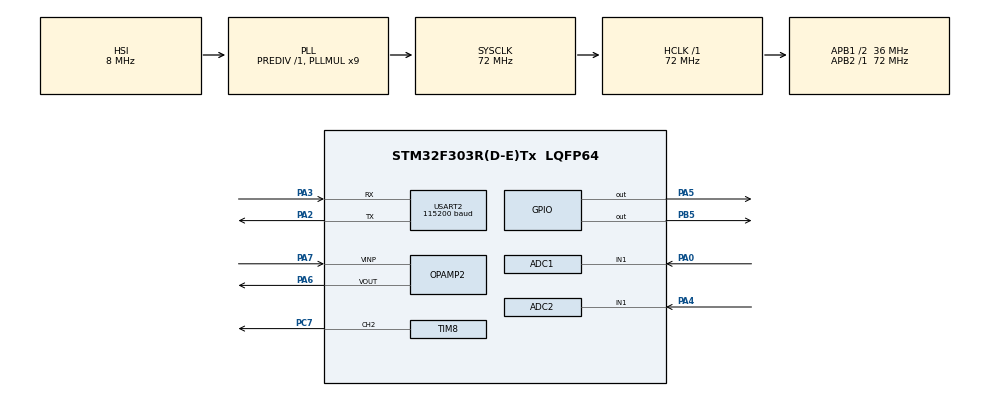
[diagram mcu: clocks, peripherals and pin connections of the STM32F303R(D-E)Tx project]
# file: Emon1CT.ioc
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ADC1.Channel-8\#ChannelRegularConversion=ADC_CHANNEL_1
ADC1.ClockPrescaler=ADC_CLOCK_SYNC_PCLK_DIV4
ADC1.ContinuousConvMode=ENABLE
ADC1.DMAContinuousRequests=ENABLE
ADC1.DataAlign=ADC_DATAALIGN_RIGHT
ADC1.DiscontinuousConvMode=DISABLE
ADC1.EOCSelection=ADC_EOC_SEQ_CONV
ADC1.EnableAnalogWatchDog1=false
ADC1.EnableAnalogWatchDog2=false
ADC1.EnableAnalogWatchDog3=false
ADC1.EnableInjectedConversion=ENABLE
ADC1.EnableRegularConversion=ENABLE
ADC1.ExternalTrigConv=ADC_EXTERNALTRIGCONV_T8_TRGO2
ADC1.ExternalTrigConvEdge=ADC_EXTERNALTRIGCONVEDGE_RISING
ADC1.InjNumberOfConversion=0
ADC1.LowPowerAutoWait=DISABLE
ADC1.NbrOfConversion=1
ADC1.NbrOfConversionFlag=1
ADC1.Offset-8\#ChannelRegularConversion=0
ADC1.OffsetNumber-8\#ChannelRegularConversion=ADC_OFFSET_NONE
ADC1.Overrun=ADC_OVR_DATA_OVERWRITTEN
ADC1.Rank-8\#ChannelRegularConversion=1
ADC1.Resolution=ADC_RESOLUTION_12B
ADC1.SamplingTime-8\#ChannelRegularConversion=ADC_SAMPLETIME_601CYCLES_5
ADC1.ScanConvMode=ADC_SCAN_DISABLE
ADC1.master=1
ADC2.Channel-0\#ChannelRegularConversion=ADC_CHANNEL_1
ADC2.ClockPrescaler=ADC_CLOCK_SYNC_PCLK_DIV4
ADC2.ContinuousConvMode=ENABLE
ADC2.DMAContinuousRequests=ENABLE
ADC2.EOCSelection=ADC_EOC_SEQ_CONV
ADC2.ExternalTrigConv=ADC_EXTERNALTRIGCONV_T8_TRGO2
ADC2.NbrOfConversionFlag=1
ADC2.Offset-0\#ChannelRegularConversion=0
ADC2.OffsetNumber-0\#ChannelRegularConversion=ADC_OFFSET_NONE
ADC2.Rank-0\#ChannelRegularConversion=1
ADC2.SamplingTime-0\#ChannelRegularConversion=ADC_SAMPLETIME_601CYCLES_5
Dma.ADC1.1.Direction=DMA_PERIPH_TO_MEMORY
Dma.ADC1.1.Instance=DMA1_Channel1
Dma.ADC1.1.MemDataAlignment=DMA_MDATAALIGN_HALFWORD
Dma.ADC1.1.MemInc=DMA_MINC_ENABLE
Dma.ADC1.1.Mode=DMA_CIRCULAR
Dma.ADC1.1.PeriphDataAlignment=DMA_PDATAALIGN_HALFWORD
Dma.ADC1.1.PeriphInc=DMA_PINC_DISABLE
Dma.ADC1.1.Priority=DMA_PRIORITY_HIGH
Dma.ADC2.0.Direction=DMA_PERIPH_TO_MEMORY
Dma.ADC2.0.Instance=DMA2_Channel1
Dma.ADC2.0.MemDataAlignment=DMA_MDATAALIGN_HALFWORD
Dma.ADC2.0.MemInc=DMA_MINC_ENABLE
Dma.ADC2.0.Mode=DMA_CIRCULAR
Dma.ADC2.0.PeriphDataAlignment=DMA_PDATAALIGN_HALFWORD
Dma.ADC2.0.PeriphInc=DMA_PINC_DISABLE
Dma.ADC2.0.Priority=DMA_PRIORITY_HIGH
Dma.Request0=ADC2
Dma.Request1=ADC1
Mcu.Family=STM32F3
Mcu.Name=STM32F303R(D-E)Tx
Mcu.Package=LQFP64
NVIC.DMA1_Channel1_IRQn=true\:1\:0\:true\:false\:true\:false
NVIC.DMA2_Channel1_IRQn=true\:1\:0\:true\:false\:true\:false
NVIC.PriorityGroup=NVIC_PRIORITYGROUP_4
PA0.Mode=IN1-Single-Ended
PA0.Signal=ADC1_IN1
PA2.Mode=Asynchronous
PA2.Signal=USART2_TX
PA3.Mode=Asynchronous
PA3.Signal=USART2_RX
PA4.Mode=IN1-Single-Ended
PA4.Signal=ADC2_IN1
PA5.Signal=GPIO_Output
PA6.Mode=Follower
PA6.Signal=OPAMP2_VOUT
PA7.Mode=Follower
PA7.Signal=OPAMP2_VINP
PB5.Signal=GPIO_Output
PC7.Signal=S_TIM8_CH2
ProjectManager.HeapSize=0x200
ProjectManager.StackSize=0x400
ProjectManager.TargetToolchain=Makefile
RCC.AHBFreq_Value=72000000
RCC.APB1CLKDivider=RCC_HCLK_DIV2
RCC.APB1Freq_Value=36000000
RCC.APB1TimFreq_Value=72000000
RCC.APB2Freq_Value=72000000
RCC.APB2TimFreq_Value=72000000
RCC.CortexFreq_Value=72000000
RCC.HCLKFreq_Value=72000000
RCC.HSE_VALUE=8000000
RCC.HSI_VALUE=8000000
RCC.LSE_VALUE=32768
RCC.PLLMUL=RCC_PLL_MUL9
RCC.SYSCLKFreq_VALUE=72000000
RCC.SYSCLKSourceVirtual=RCC_SYSCLKSOURCE_PLLCLK
RCC.USBFreq_Value=72000000
SH.S_TIM8_CH2.0=TIM8_CH2,PWM Generation2 CH2
TIM8.Channel-PWM\ Generation2\ CH2=TIM_CHANNEL_2
TIM8.Period=9999
TIM8.Prescaler=71
TIM8.TIM_MasterOutputTrigger2=TIM_TRGO2_OC2REF
USART2.BaudRate=115200
USART2.VirtualMode-Asynchronous=VM_ASYNC
USART2.WordLength=WORDLENGTH_8B
board=Emon1CT

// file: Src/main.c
/**
  ******************************************************************************
  * @file           : main.c
  * @brief          : Main program body
  ******************************************************************************
  ** This notice applies to any and all portions of this file
  * that are not between comment pairs USER CODE BEGIN and
  * USER CODE END. Other portions of this file, whether
  * inserted by the user or by software development tools
  * are owned by their respective copyright owners.
  *
  * COPYRIGHT(c) 2020 STMicroelectronics
  *
  * Redistribution and use in source and binary forms, with or without modification,
  * are permitted provided that the following conditions are met:
  *   1. Redistributions of source code must retain the above copyright notice,
  *      this list of conditions and the following disclaimer.
  *   2. Redistributions in binary form must reproduce the above copyright notice,
  *      this list of conditions and the following disclaimer in the documentation
  *      and/or other materials provided with the distribution.
  *   3. Neither the name of STMicroelectronics nor the names of its contributors
  *      may be used to endorse or promote products derived from this software
  *      without specific prior written permission.
  *
  * THIS SOFTWARE IS PROVIDED BY THE COPYRIGHT HOLDERS AND CONTRIBUTORS "AS IS"
  * AND ANY EXPRESS OR IMPLIED WARRANTIES, INCLUDING, BUT NOT LIMITED TO, THE
  * IMPLIED WARRANTIES OF MERCHANTABILITY AND FITNESS FOR A PARTICULAR PURPOSE ARE
  * DISCLAIMED. IN NO EVENT SHALL THE COPYRIGHT HOLDER OR CONTRIBUTORS BE LIABLE
  * FOR ANY DIRECT, INDIRECT, INCIDENTAL, SPECIAL, EXEMPLARY, OR CONSEQUENTIAL
  * DAMAGES (INCLUDING, BUT NOT LIMITED TO, PROCUREMENT OF SUBSTITUTE GOODS OR
  * SERVICES; LOSS OF USE, DATA, OR PROFITS; OR BUSINESS INTERRUPTION) HOWEVER
  * CAUSED AND ON ANY THEORY OF LIABILITY, WHETHER IN CONTRACT, STRICT LIABILITY,
  * OR TORT (INCLUDING NEGLIGENCE OR OTHERWISE) ARISING IN ANY WAY OUT OF THE USE
  * OF THIS SOFTWARE, EVEN IF ADVISED OF THE POSSIBILITY OF SUCH DAMAGE.
  *
  ******************************************************************************
  */
#include "main.h"
#include "stm32f3xx_hal.h"
#include "adc.h"
#include "dma.h"
#include "opamp.h"
#include "tim.h"
#include "usart.h"
#include "gpio.h"

/* USER CODE BEGIN PV */
/* Private variables ---------------------------------------------------------*/

#define true 1
#define false 0
#define MID_ADC_READING 2048
#define POSITIVE 1
#define NEGATIVE 0

// Serial output buffer
char log_buffer[100];

// Flag
int8_t readings_ready = false;

// Calibration
double VCAL = 268.97;
double ICAL = 20.0;

// ISR accumulators
int64_t sum_P = 0;
uint64_t sum_V_sq = 0;
uint64_t sum_I_sq = 0;
int64_t sum_V = 0;
int64_t sum_I = 0;
uint64_t count = 0;

// Copy for main loop processing
int64_t sum_P_copy;
uint64_t sum_V_sq_copy;
uint64_t sum_I_sq_copy;
int64_t sum_V_copy;
int64_t sum_I_copy;
uint64_t count_copy;

uint8_t cycles = 0;

uint8_t polarity_count = 0;
uint8_t polarityUnconfirmed = 0;
uint8_t polarityConfirmed = 0;
uint8_t polarityConfirmedOfLastSampleV = 0;

// uint32_t process_frame_start = 0;
// uint32_t process_frame_elapsed = 0;
// uint32_t process_frame_elapsed_copy = 0;

int32_t Vsamples[2000];
int32_t Isamples[2000];
uint32_t pos = 0;
int8_t samples_ready = false;
int8_t take_readings = false;
uint8_t complete_cycle = 0;

double phase_shift_sum = 0;
int8_t phase_shift_num = 0;

/* USER CODE END PV */

void SystemClock_Config(void);

/* USER CODE BEGIN PFP */
/* Private function prototypes -----------------------------------------------*/

/* USER CODE END PFP */

/* USER CODE BEGIN 0 */
void process_frame(uint16_t offset)
{
  // process_frame_start = HAL_GetTick();

  int32_t sample_V, sample_I, signed_V, signed_I;

  HAL_GPIO_WritePin(GPIOB, GPIO_PIN_5, GPIO_PIN_SET);
  for (int i=0; i<2000; i++) {
    // ----------------------------------------
    // Voltage
    sample_V = adc1_dma_buff[offset+i];
    signed_V = sample_V - MID_ADC_READING;
    sum_V += signed_V;
    sum_V_sq += signed_V * signed_V;
    // ----------------------------------------
    // Current
    sample_I = adc2_dma_buff[offset+i];
    signed_I = sample_I - MID_ADC_READING;
    sum_I += signed_I;
    sum_I_sq += signed_I * signed_I;
    // ----------------------------------------
    // Power
    sum_P += signed_V * signed_I;

    count ++;

    // -----------------------------------------------
    // Zero crossing detection from Robert Wall
    // -----------------------------------------------
    polarityConfirmedOfLastSampleV = polarityConfirmed;

    if (signed_V > 0) {
        polarityUnconfirmed = POSITIVE;
    } else {
        polarityUnconfirmed = NEGATIVE;
    }

    if (polarityUnconfirmed != polarityConfirmedOfLastSampleV) {
        polarity_count++;
    } else {
        polarity_count = 0;
    }

    if (polarity_count >= 3) {
        polarity_count = 0;
        polarityConfirmed = polarityUnconfirmed;
    }

    if (polarityConfirmed == POSITIVE && polarityConfirmedOfLastSampleV != POSITIVE) {
        cycles++;

        if (pos==0 && cycles<122) {
            take_readings = true;
            complete_cycle = cycles + 2;

        }

        if (cycles==complete_cycle && take_readings==true) {
            take_readings = false;
            samples_ready = true;
        }

    }

    if (take_readings) {
        Vsamples[pos] = signed_V;
        Isamples[pos] = signed_I;
        pos ++;
    }

    // -----------------------------------------------

    // 125 cycles or 2.5 seconds
    if (cycles>=125) {
      cycles = 0;

      sum_P_copy = sum_P;
      sum_V_sq_copy = sum_V_sq;
      sum_I_sq_copy = sum_I_sq;
      sum_V_copy = sum_V;
      sum_I_copy = sum_I;
      count_copy = count;

      // process_frame_elapsed_copy = process_frame_elapsed;
      // process_frame_elapsed = 0;

      sum_P = 0;
      sum_V_sq = 0;
      sum_I_sq = 0;
      sum_V = 0;
      sum_I = 0;
      count = 0;

      readings_ready = true;
    }
  }
  HAL_GPIO_WritePin(GPIOB, GPIO_PIN_5, GPIO_PIN_RESET);

  // process_frame_elapsed += HAL_GetTick() - process_frame_start;
}

/* USER CODE END 0 */

int main(void)
{

  /* MCU Configuration----------------------------------------------------------*/

  /* Reset of all peripherals, Initializes the Flash interface and the Systick. */
  HAL_Init();

  /* USER CODE BEGIN Init */
  double V_RATIO = VCAL * (3.3 / 4096.0);
  double I_RATIO = ICAL * (3.3 / 4096.0);
  /* USER CODE END Init */

  /* Configure the system clock */
  SystemClock_Config();

  /* Initialize all configured peripherals */
  MX_GPIO_Init();
  MX_DMA_Init();
  MX_USART2_UART_Init();
  MX_ADC1_Init();
  MX_ADC2_Init();
  MX_TIM8_Init();
  MX_OPAMP2_Init();
  /* USER CODE BEGIN 2 */

  HAL_OPAMP_Start(&hopamp2);

  start_ADCs();

  sprintf(log_buffer,"Vrms\tIrms\tRP\tPF\tPFA\tAngle\tCount\r\n");
  debug_printf(log_buffer);

  /* USER CODE END 2 */

  /* Infinite loop */
  /* USER CODE BEGIN WHILE */
  while (1)
  {
     if (samples_ready) {
       samples_ready = false;

       double sinval,cosval;
       double sum_sin_V = 0;
       double sum_cos_V = 0;
       double sum_sin_I = 0;
       double sum_cos_I = 0;

       double step = -2 * 2 * 3.14159265 / pos;

       // sprintf(log_buffer,"%d\r\n", pos);
       // debug_printf(log_buffer);

       for (int x=0; x<pos; x++) {

           sinval = sin(x*step);
           cosval = cos(x*step);

           sum_sin_V += Vsamples[x] * sinval;
           sum_cos_V += Vsamples[x] * cosval;
           sum_sin_I += Isamples[x] * sinval;
           sum_cos_I += Isamples[x] * cosval;

           // sprintf(log_buffer,"%d,%d\r\n", Vsamples[x], Isamples[x]);
           // debug_printf(log_buffer);
       }

       // sprintf(log_buffer,"pos: %d, step: %.5f\r\n",pos,step);
       // debug_printf(log_buffer);

       double angleV = 360*atan2(sum_cos_V,sum_sin_V)/(2*3.14159265);
       double angleI = 360*atan2(sum_cos_I,sum_sin_I)/(2*3.14159265);

       // sprintf(log_buffer,"%.3f,%.3f,%.3f,%.3f,%.3f,%.3f\r\n",sum_sin_V,sum_cos_V,angleV,sum_sin_I,sum_cos_I,angleI);
       // debug_printf(log_buffer);

       double phase_shift = (angleV-angleI+180) - (360*floor((angleV-angleI+180) / 360.0)) - 180;

       // sprintf(log_buffer,"%.3f\r\n",phase_shift);
       // debug_printf(log_buffer);

       phase_shift_sum += phase_shift;
       phase_shift_num ++;

       pos = 0;
     }

     if (readings_ready) {
       readings_ready = false;

       double Vmean = sum_V_copy * (1.0 / count_copy);
       double Imean = sum_I_copy * (1.0 / count_copy);

       sum_V_sq_copy *= (1.0 / count_copy);
       sum_V_sq_copy -= (Vmean*Vmean);
       double Vrms = V_RATIO * sqrt((double)sum_V_sq_copy);

       sum_I_sq_copy *= (1.0 / count_copy);
       sum_I_sq_copy -= (Imean*Imean);
       double Irms = I_RATIO * sqrt((double)sum_I_sq_copy);

       double mean_P = (sum_P_copy * (1.0 / count_copy)) - (Vmean*Imean);
       double realPower = V_RATIO * I_RATIO * mean_P;

       double apparentPower = Vrms * Irms;
       double powerFactor = realPower / apparentPower;
       double powerFactorDegrees = 360*(acos(powerFactor)/(2*3.14159265));

       double phase_shift_average = phase_shift_sum / phase_shift_num;
       phase_shift_sum = 0;
       phase_shift_num = 0;

       //sprintf(log_buffer,"Vrms\tIrms\tRP\tPF\tPFA\tAngle\tCount\r\n");
       //debug_printf(log_buffer);
       sprintf(log_buffer,"%.2f\t%.3f\t%.1f\t%.3f\t%.3f\t%.3f\t%Ld\r\n", Vrms, Irms, realPower, powerFactor,powerFactorDegrees,phase_shift_average,count_copy);
       debug_printf(log_buffer);
     }

  /* USER CODE END WHILE */

  }

}

void SystemClock_Config(void)
{

  RCC_OscInitTypeDef RCC_OscInitStruct;
  RCC_ClkInitTypeDef RCC_ClkInitStruct;
  RCC_PeriphCLKInitTypeDef PeriphClkInit;

    /**Initializes the CPU, AHB and APB busses clocks
    */
  RCC_OscInitStruct.OscillatorType = RCC_OSCILLATORTYPE_HSI;
  RCC_OscInitStruct.HSIState = RCC_HSI_ON;
  RCC_OscInitStruct.HSICalibrationValue = 16;
  RCC_OscInitStruct.PLL.PLLState = RCC_PLL_ON;
  RCC_OscInitStruct.PLL.PLLSource = RCC_PLLSOURCE_HSI;
  RCC_OscInitStruct.PLL.PLLMUL = RCC_PLL_MUL9;
  RCC_OscInitStruct.PLL.PREDIV = RCC_PREDIV_DIV1;
  if (HAL_RCC_OscConfig(&RCC_OscInitStruct) != HAL_OK)
  {
    _Error_Handler(__FILE__, __LINE__);
  }

    /**Initializes the CPU, AHB and APB busses clocks
    */
  RCC_ClkInitStruct.ClockType = RCC_CLOCKTYPE_HCLK|RCC_CLOCKTYPE_SYSCLK
                              |RCC_CLOCKTYPE_PCLK1|RCC_CLOCKTYPE_PCLK2;
  RCC_ClkInitStruct.SYSCLKSource = RCC_SYSCLKSOURCE_PLLCLK;
  RCC_ClkInitStruct.AHBCLKDivider = RCC_SYSCLK_DIV1;
  RCC_ClkInitStruct.APB1CLKDivider = RCC_HCLK_DIV2;
  RCC_ClkInitStruct.APB2CLKDivider = RCC_HCLK_DIV1;

  if (HAL_RCC_ClockConfig(&RCC_ClkInitStruct, FLASH_LATENCY_2) != HAL_OK)
  {
    _Error_Handler(__FILE__, __LINE__);
  }

  PeriphClkInit.PeriphClockSelection = RCC_PERIPHCLK_USART2|RCC_PERIPHCLK_TIM8;
  PeriphClkInit.Usart2ClockSelection = RCC_USART2CLKSOURCE_PCLK1;
  PeriphClkInit.Tim8ClockSelection = RCC_TIM8CLK_HCLK;
  if (HAL_RCCEx_PeriphCLKConfig(&PeriphClkInit) != HAL_OK)
  {
    _Error_Handler(__FILE__, __LINE__);
  }

    /**Configure the Systick interrupt time
    */
  HAL_SYSTICK_Config(HAL_RCC_GetHCLKFreq()/1000);

    /**Configure the Systick
    */
  HAL_SYSTICK_CLKSourceConfig(SYSTICK_CLKSOURCE_HCLK);

  /* SysTick_IRQn interrupt configuration */
  HAL_NVIC_SetPriority(SysTick_IRQn, 0, 0);
}

void _Error_Handler(char *file, int line)
{
  while(1)
  {
  }
}

/************************ (C) COPYRIGHT STMicroelectronics *****END OF FILE****/
